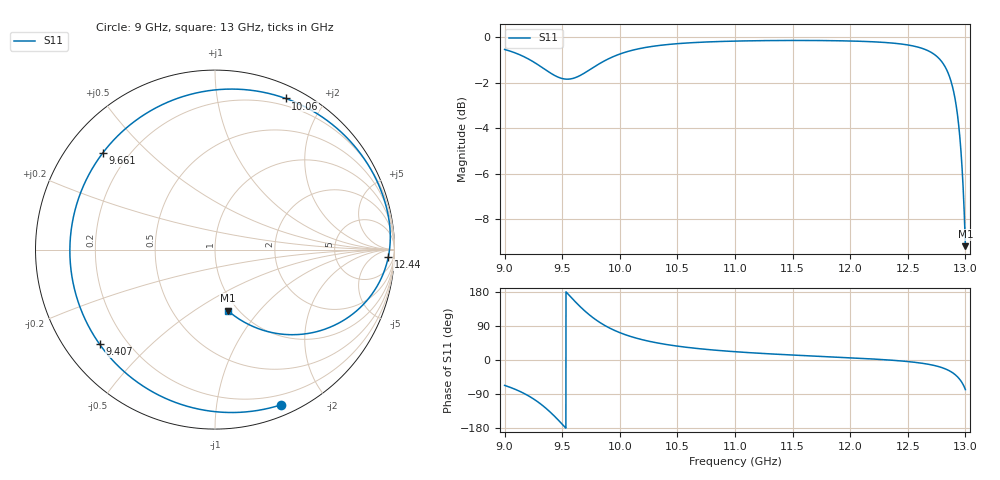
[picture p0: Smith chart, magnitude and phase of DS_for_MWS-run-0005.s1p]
! TOUCHSTONE file generated by CST DESIGN STUDIO
! Date and time: Tue Feb  4 17:13:56 2025
! Project name: C:\Work\MatlabApps\UnitCellOptimizationMatlab\CST\unitcell.cst
! Tree item: Tasks\Sweep1\SPara1\S-Parameters
! Header version: 2024
! Port assignment regex: !\s*Touchstone port\s*([0-9]+)\s*=\s*(CST MWS port|CST DES external port|CST DES block port)\s*(.+)\s* \(\"(.*)\"\)(\s*mode\s*([0-9]+))?.*
! Touchstone port assignment:
! Touchstone port 1 = CST DES external port 1 ("")
# GHz S MA R 50
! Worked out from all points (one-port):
!   4001 points, 9 GHz to 13 GHz, reference 50 ohm
!   lowest |S11| = -9.2 dB at 13 GHz (marker M1), VSWR 2.06, Z = 44.9 - j34.7 ohm
!   |S11| at or under -10 dB: nowhere
!   S11 on the Smith chart (normalised r, x): 9 GHz: 0.10, -1.51; 9.407 GHz: 0.10, -0.35; 9.661 GHz: 0.11, +0.37; 10.06 GHz: 0.13, +1.56; 12.44 GHz: 24, -29; 13 GHz: 0.90, -0.69
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9  0.9399 -67.0
9.115  0.9186 -80.4
9.239  0.886 -100.4
9.326  0.8577 -119.2
9.407  0.8314 -140.6
9.456  0.8186 -155.4
9.5  0.8111 -169.4
9.577  0.8099 165.4
9.661  0.8251 139.3
9.733  0.8462 119.8
9.808  0.8699 102.8
9.893  0.8941 87.2
10  0.9183 72.2
10.065  0.9296 65.0
10.257  0.9525 49.2
10.5  0.9678 36.6
10.721  0.9754 28.9
11  0.9805 21.9
11.5  0.9837 13.1
12  0.981 5.8
12.437  0.9666 -2.4
12.5  0.9615 -4.1
12.708  0.9245 -13.0
12.832  0.8533 -24.2
12.89  0.7747 -33.8
12.938  0.6534 -46.5
12.966  0.5409 -57.5
13  0.3469 -78.2
